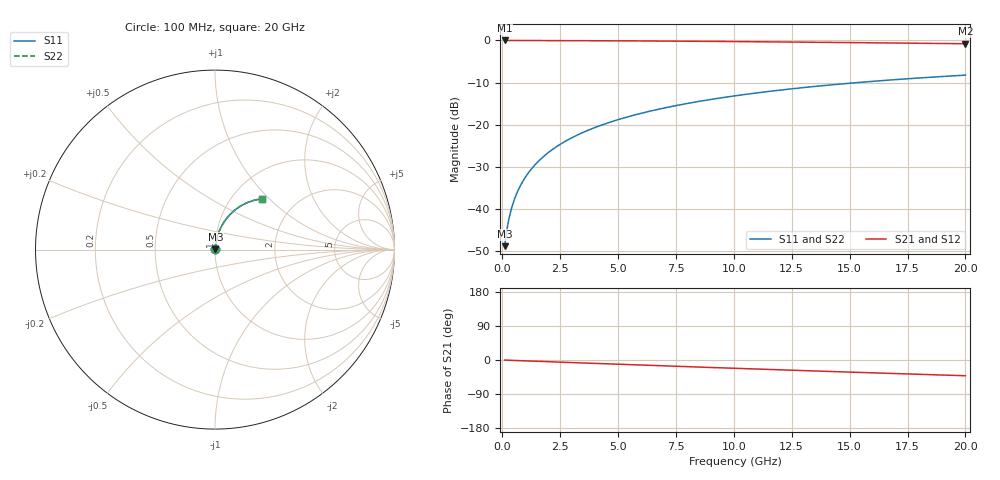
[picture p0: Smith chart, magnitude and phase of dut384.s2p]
! Touchstone file exported from HFSS 2026.1.0
!  File:  C:/ffzhzh/LocalFiles/Ansys_Project_Files/temp_train_BSMRDL_384_1783012041_51716.aedt
!  Generated:  01:08:46 AM Jul  3, 2026
!  Design:  BSMRDL
!  Project:  temp_train_BSMRDL_384_1783012041_51716
! Variables:
!  h_bsmrdl = 3.86um
!  h_ox = 20um
!  h_rdl = 5um
!  h_sub = 80um
!  h_tmrdl = 5um
!  h_tsv = 80um
!  h_via = 3um
!  l_bsmrdl = 595.8um
!  l_sub = 995.8um
!  l_tmrdl = 200um
!  m_sub = 200um
!  pitch = 52.43um
!  r_tsv = 6um
!  s_tmrdl = 10um
!  w_bsmrdl = 22.96um
!  w_sub = 500um
!  w_tmrdl = 12um
!  x_tsv_center1 = 206um
!  x_tsv_center2 = 824.76um
!  x_tsv_center3 = 1036.76um
!  x_tsv_center4 = 1655.52um
!  x_tsv_center5 = 1867.52um
!  x_tsv_center6 = 2486.28um
# GHz S MA R 50.000000
! Terminal data exported
! Port[1] = BSM_RDL1_1_T1
! Port[2] = BSM_RDL1_1_T2
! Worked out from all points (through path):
!   200 points, 100 MHz to 20 GHz, reference 50 ohm
!   highest |S21| = -0.02 dB at 100 MHz (marker M1); lowest = -0.8 dB at 20 GHz (marker M2)
!   group delay of S21, straight-line fit = 5.77 ps
!   lowest |S11| = -48.8 dB at 100 MHz (marker M3), VSWR 1.01, Z = 50.3 + j0.256 ohm
!   |S11| at or under -10 dB: start of sweep to 15.36 GHz
!   |S22| runs from -48.8 to -8.2 dB; largest |S21 - S12| = 3.4e-15
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0.1  0.003625 44.5  0.9974 -0.2  0.9974 -0.2  0.003625 44.5
! Gamma 0 0 0 0
! Port Impedance 50 0 50 0
0.2  0.005715 61.3  0.9973 -0.5  0.9973 -0.5  0.005715 61.3
0.3  0.007962 68.3  0.9971 -0.7  0.9971 -0.7  0.007961 68.3
0.4  0.01022 72.2  0.997 -0.9  0.997 -0.9  0.01022 72.2
0.5  0.01249 74.6  0.9969 -1.1  0.9969 -1.1  0.01249 74.6
0.6  0.01476 76.3  0.9968 -1.4  0.9968 -1.4  0.01476 76.3
0.8  0.01932 78.5  0.9966 -1.8  0.9966 -1.8  0.01932 78.5
1.1  0.02621 80.1  0.9964 -2.5  0.9964 -2.5  0.02621 80.1
1.5  0.03544 80.9  0.9959 -3.4  0.9959 -3.4  0.03544 80.9
1.8  0.04236 81.0  0.9956 -4.1  0.9956 -4.1  0.04236 81.0
2.1  0.04928 80.9  0.9951 -4.7  0.9951 -4.7  0.04928 80.9
2.7  0.06306 80.3  0.9941 -6.1  0.9941 -6.1  0.06306 80.3
3.5  0.08128 79.0  0.9923 -7.9  0.9923 -7.9  0.08128 79.0
4.2  0.09703 77.8  0.9905 -9.4  0.9905 -9.4  0.09703 77.8
5  0.1148 76.2  0.9881 -11.2  0.9881 -11.2  0.1148 76.2
5.9  0.1344 74.4  0.9851 -13.1  0.9851 -13.1  0.1344 74.4
6.8  0.1537 72.6  0.9818 -15.1  0.9818 -15.1  0.1537 72.6
8.3  0.1849 69.5  0.9757 -18.3  0.9757 -18.3  0.1849 69.6
10.1  0.221 65.9  0.9675 -22.0  0.9675 -22.0  0.2209 65.9
13.4  0.2826 59.4  0.9504 -28.8  0.9504 -28.8  0.2825 59.4
16.7  0.338 53.1  0.9316 -35.3  0.9316 -35.3  0.338 53.1
20  0.3869 47.0  0.9121 -41.5  0.9121 -41.5  0.3869 47.1
